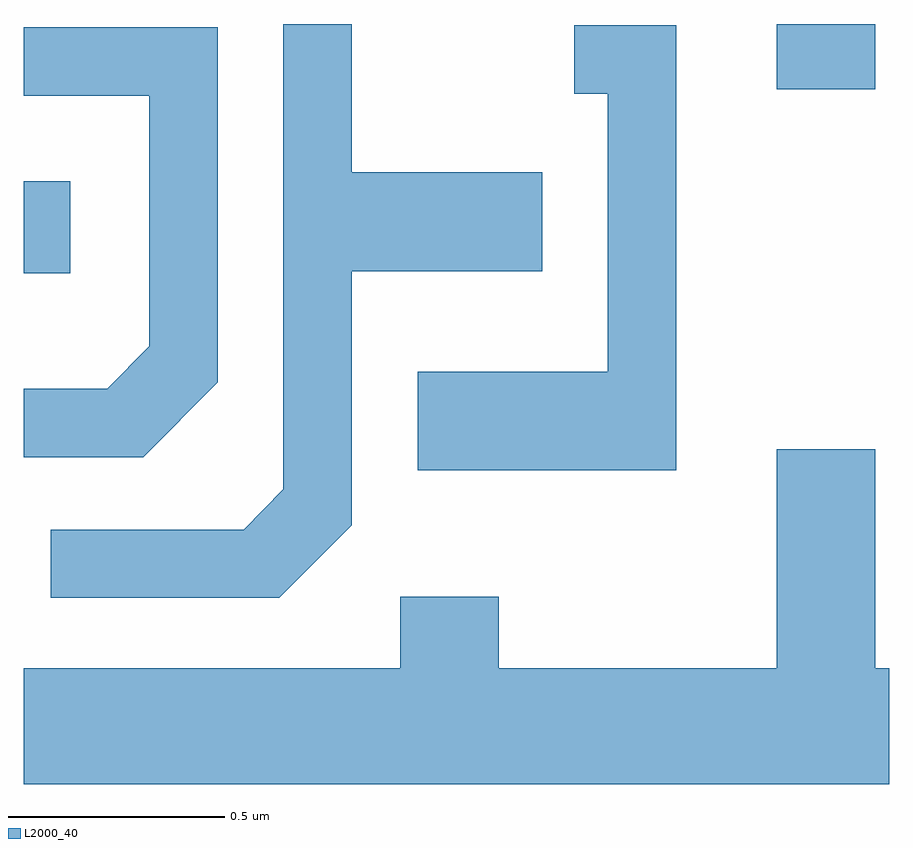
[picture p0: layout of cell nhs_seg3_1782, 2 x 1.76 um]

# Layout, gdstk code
import gdstk
lib = gdstk.Library(unit=1e-6, precision=1e-09)
def R(c, l, rs):  # rectangles x0, y0, x1, y1
    for r in rs: c.add(gdstk.rectangle(r[:2], r[2:], *l))
def P(c, l, *ps):  # polygons
    for p in ps: c.add(gdstk.Polygon(p, *l))
L2000_40 = (2000, 40)

nhs_seg3_1782 = lib.new_cell('nhs_seg3_1782')
R(nhs_seg3_1782, L2000_40, [(198.611,1118.316,198.719,1118.529), (200.351,1118.741,200.579,1118.892)])
P(nhs_seg3_1782, L2000_40, [(199.369,1117.734),(199.369,1118.321),(199.809,1118.321),(199.809,1118.549),(199.369,1118.549),(199.369,1118.892),(199.211,1118.892),(199.211,1117.817),(199.119,1117.724),(198.673,1117.724),(198.673,1117.566),(199.202,1117.566)],
  [(200.119,1118.889),(199.883,1118.889),(199.883,1118.731),(199.961,1118.731),(199.961,1118.089),(199.521,1118.089),(199.521,1117.861),(200.119,1117.861)],
  [(199.059,1118.064),(199.059,1118.884),(198.611,1118.884),(198.611,1118.726),(198.901,1118.726),(198.901,1118.147),(198.804,1118.049),(198.611,1118.049),(198.611,1117.891),(198.887,1117.891)],
  [(200.611,1117.404),(200.579,1117.404),(200.579,1117.909),(200.351,1117.909),(200.351,1117.404),(199.709,1117.404),(199.709,1117.569),(199.481,1117.569),(199.481,1117.404),(198.611,1117.404),(198.611,1117.136),(200.611,1117.136)])

lib.write_gds('nhs_seg3_1782.gds')
